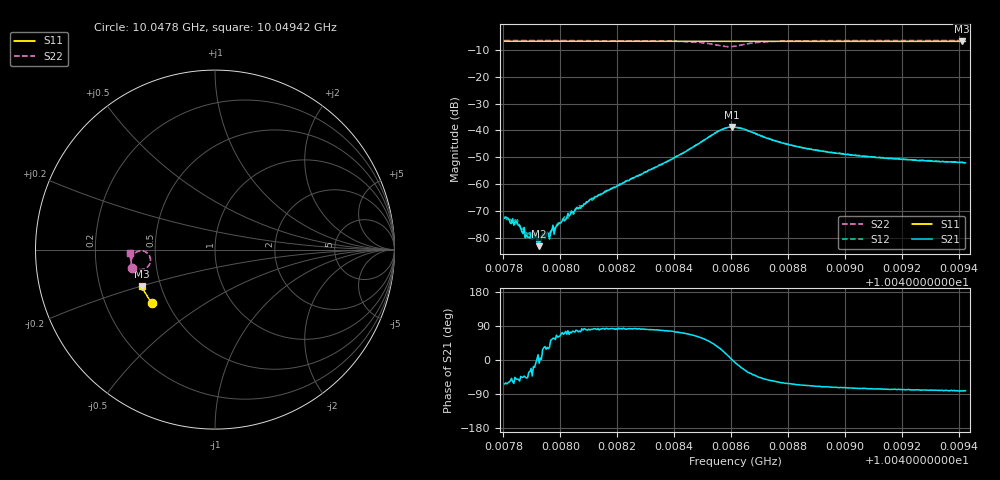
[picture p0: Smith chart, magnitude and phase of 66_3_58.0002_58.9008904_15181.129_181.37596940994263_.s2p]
#  HZ  S  RI  R  50.00
! Rohde & Schwarz Vector Network Analyzer
! Rohde-Schwarz,ZNB20-2Port,1311601062101988,3.16
! Created: UTC 3/21/2024, 12:53:13 AM
! freq[Hz]  re:S11  im:S11  re:S21  im:S21  re:S12  im:S12  re:S22  im:S22
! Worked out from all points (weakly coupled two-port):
!   401 points, 10.0478 GHz to 10.04942 GHz, reference 50 ohm
!   highest |S21| = -38.69 dB at 10.0486 GHz (marker M1); lowest = -83.1 dB at 10.04793 GHz (marker M2)
!   lowest |S11| = -6.8 dB at 10.04941 GHz (marker M3), VSWR 2.68, Z = 19.5 - j10.2 ohm
!   |S11| at or under -10 dB: nowhere
!   |S22| runs from -8.8 to -6.5 dB; largest |S21 - S12| = 0.0009
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1.0047804e10  -0.3521 -0.2956  0.000105 -0.000206  0.000134 -0.00021  -0.4638 -0.1032
1.0047849e10  -0.354 -0.2933  0.000121 -0.000148  0.000153 -0.000155  -0.4644 -0.0999
1.0047869e10  -0.3548 -0.2922  8.36e-05 -8.47e-05  0.000108 -0.000107  -0.4647 -0.0982
1.0047885e10  -0.3554 -0.2914  7.13e-05 -7.4e-05  7.96e-05 -8e-05  -0.4648 -0.097
1.0047905e10  -0.3562 -0.29  9.72e-05 -2.98e-05  8.99e-05 4.29e-06  -0.465 -0.0954
1.0047926e10  -0.3571 -0.2891  6.89e-05 -1.04e-05  8.91e-05 2.54e-05  -0.4653 -0.0936
1.0047946e10  -0.358 -0.2881  7.71e-05 5.53e-05  8.71e-05 6.67e-05  -0.4654 -0.0919
1.0047954e10  -0.3582 -0.2876  0.000107 7.05e-05  8.51e-05 7.21e-05  -0.4655 -0.0913
1.0047966e10  -0.3587 -0.287  7.64e-05 9.84e-05  9.32e-05 9.83e-05  -0.4656 -0.0901
1.0048007e10  -0.3604 -0.2849  6.09e-05 0.000198  4.74e-05 0.000205  -0.4661 -0.0867
1.0048035e10  -0.3615 -0.2832  7.5e-05 0.000259  5.48e-05 0.000293  -0.4662 -0.0842
1.0048075e10  -0.363 -0.2812  5.02e-05 0.000391  5.21e-05 0.000392  -0.4665 -0.0802
1.004816e10  -0.3663 -0.2765  8.25e-05 0.000721  4.99e-05 0.000756  -0.4667 -0.0717
1.0048346e10  -0.3734 -0.2662  0.000443 0.00219  0.000301 0.00222  -0.4628 -0.046
1.0048557e10  -0.3801 -0.2541  0.00827 0.00526  0.00792 0.00576  -0.3839 -0.0143
1.0048601e10  -0.3814 -0.252  0.0116 0.000384  0.0115 0.00125  -0.3593 -0.0624
1.0048613e10  -0.3817 -0.2515  0.0114 -0.00127  0.0116 -0.000447  -0.3628 -0.078
1.004871e10  -0.3856 -0.2465  0.00508 -0.00577  0.00552 -0.00545  -0.4319 -0.1069
1.0048884e10  -0.3919 -0.2366  0.00162 -0.0041  0.00188 -0.00402  -0.464 -0.074
1.0049156e10  -0.4006 -0.2207  0.00063 -0.00292  0.000836 -0.00293  -0.4721 -0.0435
1.004941e10  -0.4079 -0.2057  0.000368 -0.00252  0.000538 -0.00249  -0.4743 -0.0223
1.0049423e10  -0.4083 -0.205  0.000385 -0.00247  0.000536 -0.00246  -0.4743 -0.0213
